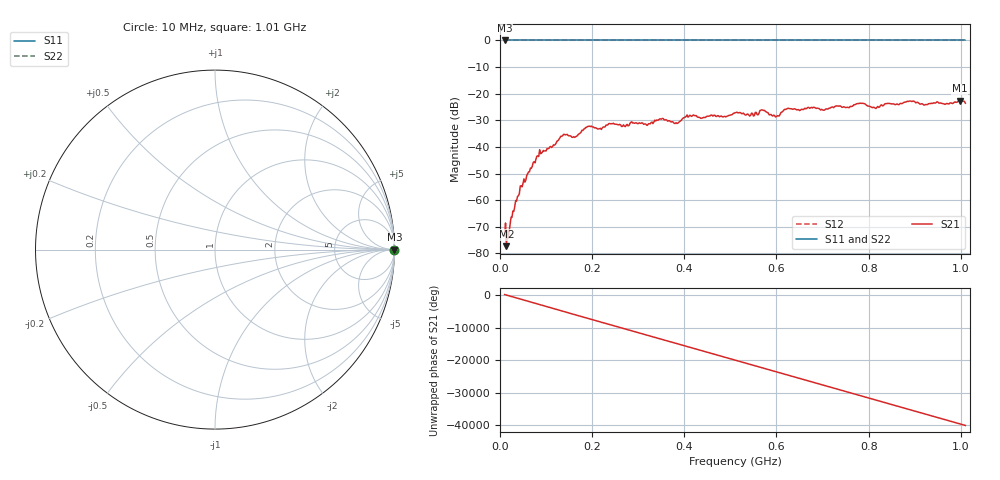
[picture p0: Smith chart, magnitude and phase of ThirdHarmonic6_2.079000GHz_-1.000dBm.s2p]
! 8/17/2025 12:53:52 AM
! C:\ANRITSUVNA\TEMP\TEMP.S2P
! CHANNEL.1
! TR.MEASUREMENT
! RAW.DATA
! RF.CORRECTION.OFF
! AVERAGING.OFF
! IF.BANDWIDTH: 5KHZ
! SWEEPTYPE:  FREQ.SWEEP(Linear)
! Reference Plane Port Info
! PORT:  PORT1  PORT2
! DISTANCE:  0  m  0  m
! TIME:  0  s  0  s
! PHASE.OFFSET:  0  deg.  0  deg.
! LOSS:  0  dB  0  dB
! REF.LOSS:  0  dB  0  dB
! REF.FREQ:  0  Hz  0  Hz
! Power Info
! POWER:  -20  dBm  -20  dBm
! EFF.POWER:  -20  dBm  -20  dBm
! SOURCE.ATTEN:  0  dB  0  dB
! TEST.ATTEN:  0  dB  0  dB
# GHZ S RI R 50.0
! FREQ.GHZ  S11RE  S11IM  S21RE  S21IM  S12RE  S12IM  S22RE  S22IM
!; PortSelection: Port_12
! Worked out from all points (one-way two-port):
!   501 points, 10 MHz to 1.01 GHz, reference 50 ohm
!   highest |S21| = -22.64 dB at 998 MHz (marker M1); lowest = -77.3 dB at 14 MHz (marker M2)
!   lowest |S11| = 0.0 dB at 10 MHz (marker M3)
!   |S11| at or under -10 dB: nowhere
!   |S22| runs from 0.0 to 0.0 dB; largest |S21 - S12| = 1.1
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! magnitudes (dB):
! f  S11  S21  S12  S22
! 10 MHz  0.0  -73.4  0.0  0.0
! 14 MHz  0.0  -77.3  0.0  0.0
! 18 MHz  0.0  -74.2  0.0  0.0
! 30 MHz  0.0  -64.2  0.0  0.0
! 48 MHz  0.0  -55.0  0.0  0.0
! 82 MHz  0.0  -43.3  0.0  0.0
! 136 MHz  0.0  -35.8  0.0  0.0
! 162 MHz  0.0  -36.4  0.0  0.0
! 178 MHz  0.0  -33.7  0.0  0.0
! 194 MHz  0.0  -32.2  0.0  0.0
! 322 MHz  0.0  -31.3  0.0  0.0
! 344 MHz  0.0  -29.9  0.0  0.0
! 382 MHz  0.0  -30.9  0.0  0.0
! 408 MHz  0.0  -28.8  0.0  0.0
! 510 MHz  0.0  -27.2  0.0  0.0
! 570 MHz  0.0  -26.2  0.0  0.0
! 602 MHz  0.0  -28.2  0.0  0.0
! 622 MHz  0.0  -25.7  0.0  0.0
! 678 MHz  0.0  -25.3  0.0  0.0
! 844 MHz  0.0  -23.6  0.0  0.0
! 998 MHz  0.0  -22.6  0.0  0.0
! 1.01 GHz  0.0  -23.5  0.0  0.0
